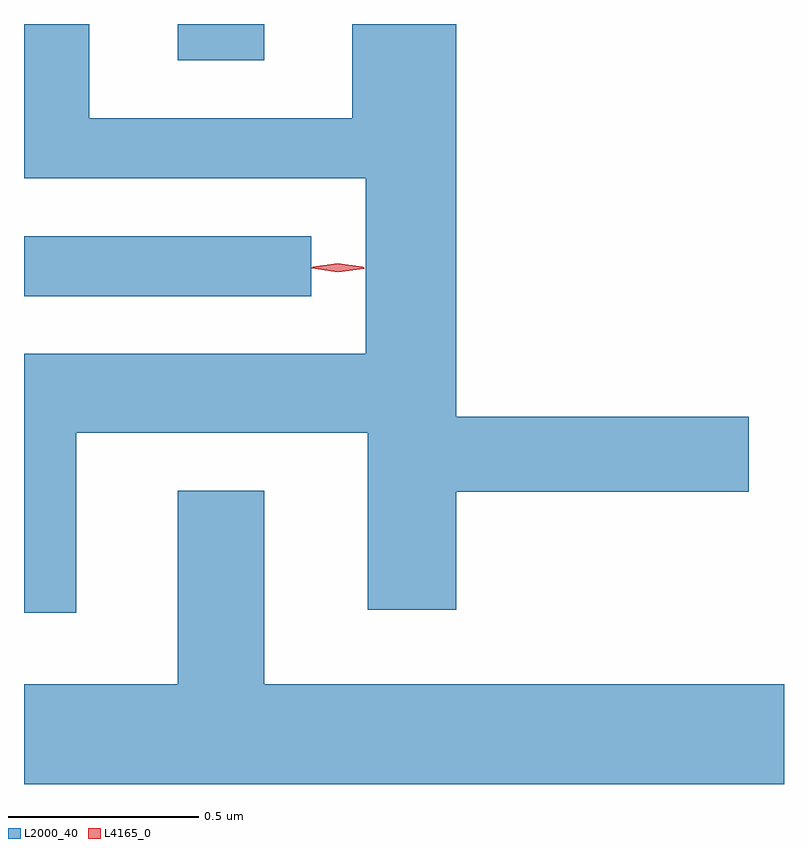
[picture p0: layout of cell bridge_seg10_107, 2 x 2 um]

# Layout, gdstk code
import gdstk
lib = gdstk.Library(unit=1e-6, precision=1e-09)
def R(c, l, rs):  # rectangles x0, y0, x1, y1
    for r in rs: c.add(gdstk.rectangle(r[:2], r[2:], *l))
def P(c, l, *ps):  # polygons
    for p in ps: c.add(gdstk.Polygon(p, *l))
L2000_40 = (2000, 40)
L4165_0 = (4165, 0)

bridge_seg10_107 = lib.new_cell('bridge_seg10_107')
R(bridge_seg10_107, L2000_40, [(1572.997,2155.166,1573.753,2155.324), (1573.401,2155.786,1573.629,2155.882)])
P(bridge_seg10_107, L2000_40, [(1573.134,2154.806),(1573.901,2154.806),(1573.901,2154.341),(1574.134,2154.341),(1574.134,2154.651),(1574.904,2154.651),(1574.904,2154.849),(1574.134,2154.849),(1574.134,2155.882),(1573.861,2155.882),(1573.861,2155.634),(1573.169,2155.634),(1573.169,2155.882),(1572.997,2155.882),(1572.997,2155.476),(1573.896,2155.476),(1573.896,2155.014),(1572.997,2155.014),(1572.997,2154.333),(1573.134,2154.333)],
  [(1574.997,2154.144),(1573.629,2154.144),(1573.629,2154.654),(1573.401,2154.654),(1573.401,2154.144),(1572.997,2154.144),(1572.997,2153.882),(1574.997,2153.882)])
P(bridge_seg10_107, L4165_0, [(1573.823,2155.229),(1573.754,2155.239),(1573.753,2155.24),(1573.754,2155.24),(1573.823,2155.249),(1573.892,2155.24),(1573.893,2155.239),(1573.892,2155.238)],
  [(1573.823,2155.232),(1573.757,2155.242),(1573.757,2155.242),(1573.757,2155.243),(1573.823,2155.252),(1573.889,2155.243),(1573.89,2155.242),(1573.889,2155.242)])

lib.write_gds('bridge_seg10_107.gds')
